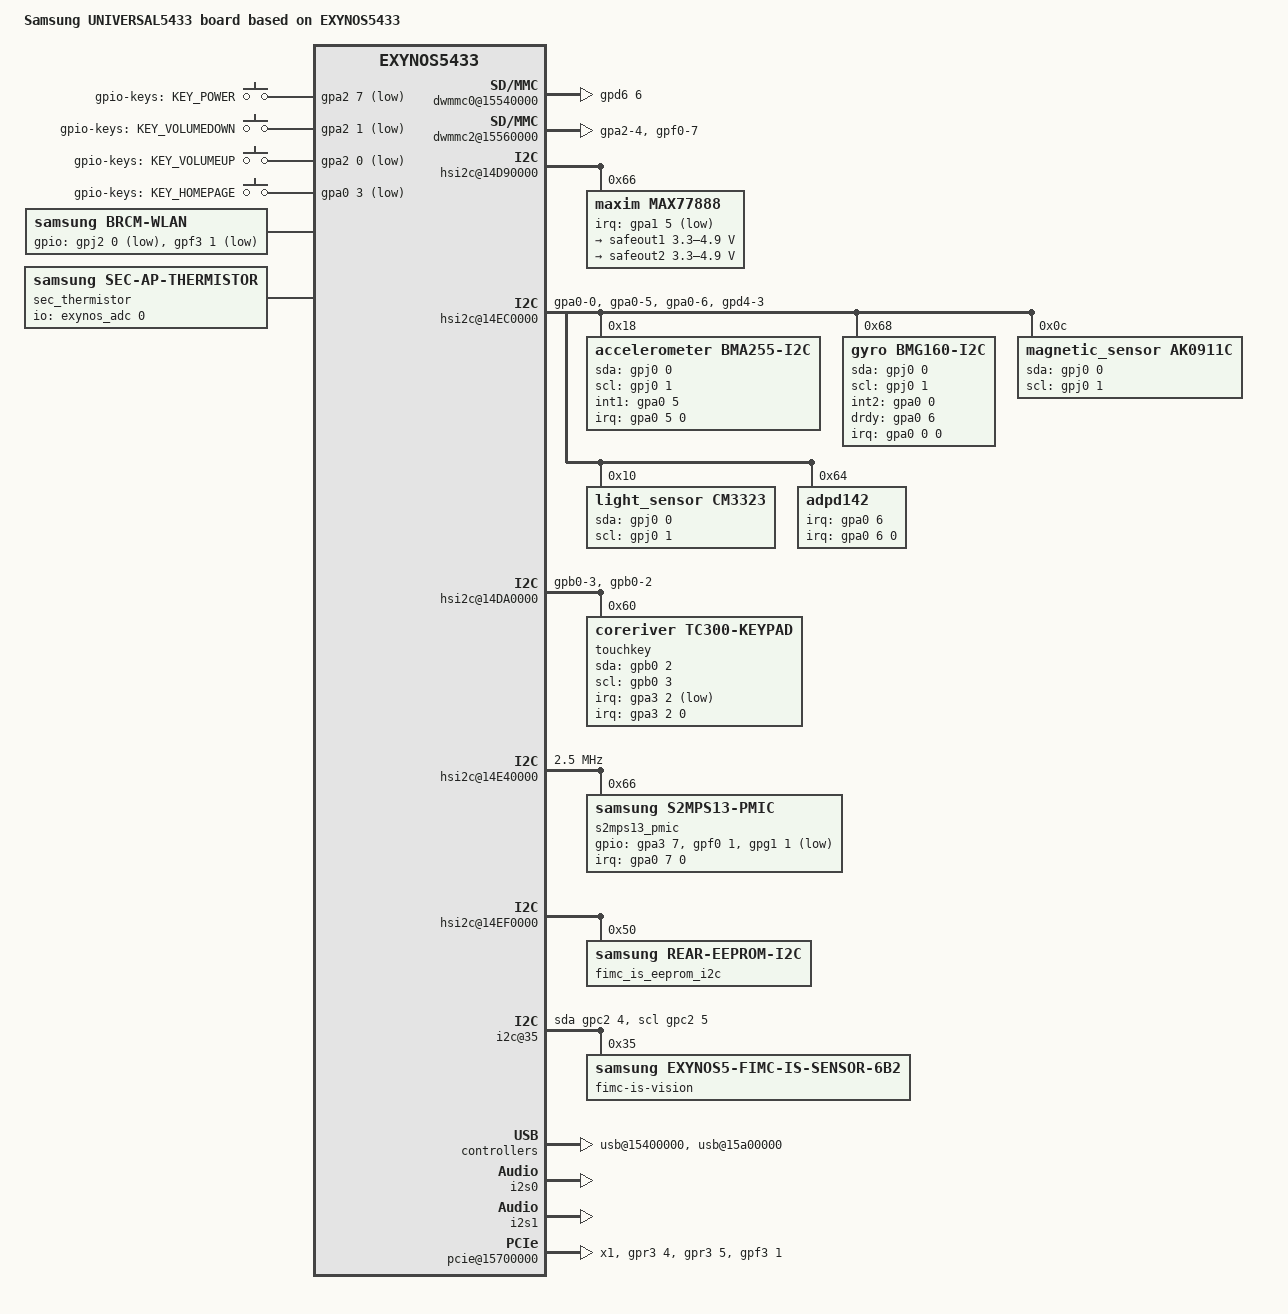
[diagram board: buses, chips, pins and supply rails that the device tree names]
/*
 * SAMSUNG UNIVERSAL5433 board device tree source
 *
 * Copyright (c) 2013 Samsung Electronics Co., Ltd.
 *		http://www.samsung.com
 *
 * This program is free software; you can redistribute it and/or modify
 * it under the terms of the GNU General Public License version 2 as
 * published by the Free Software Foundation.
*/

#include "exynos5433.dtsi"

/ {

	model = "Samsung UNIVERSAL5433 board based on EXYNOS5433";
	compatible = "samsung,UNIVERSAL5433", "samsung,exynos5433";

	aliases {
		spi0 = &spi_0;
		spi1 = &spi_1;
		spi2 = &spi_2;
		spi3 = &spi_3;
		spi4 = &spi_4;
		spi5 = &spi_5;
		spi6 = &spi_6;
	};

	chosen {
		bootargs = "console=ttySAC1,115200 vmalloc=256M";
	};

	fixed-rate-clocks {
		oscclk {
			compatible = "samsung,exynos5433-oscclk";
			clock-frequency = <24000000>;
		};
	};

	dwmmc0@15540000 {
		status = "okay";
		num-slots = <1>;
		broken-cd;
		bypass-smu;
		clock-gate;
		enable-cclk-on-suspend;
		fixed_volt;
		only_once_tune;
		supports-highspeed;
		supports-hs200-1-8v-mode;
		supports-ddr200-1-8v-mode;
		supports-ddr200-enhanced-strobe;
		supports-poweroff-notification;
		device-driver = <1>;
		enable-cache-control;
		enable-no-sleep-cmd;
		use-fine-tuning;
		use-enable-shift;
		ignore-phase = <(1 << 7 | 1 << 6)>;
		extra_tuning;
		bypass-for-allpass;
		desc-size = <4>;
		fifo-depth = <0x80>;
		qos_int_level = <400000>;
		use-enable-shift;
		card-detect-delay = <200>;
		samsung,dw-mshc-ddr200-delay-line = <0x40>;
		samsung,dw-mshc-ciu-div = <3>;
		samsung,dw-mshc-sdr-timing = <3 0 2 0>;
		samsung,dw-mshc-sdr-hs-timing = <3 0 2 1>;
		samsung,dw-mshc-ddr-timing = <3 0 3 2>;
		samsung,dw-mshc-hs200-timing = <3 0 3 0>;
		samsung,dw-mshc-ddr200-timing = <1 0 3 0>;
		clk_pin = "gpr0-0";
		clk_addr = "15690000.pinctrl";
		clk_val = <0x3>;
		clk_str_num = <6>;
		num-ref-clks = <8>;
		ciu_clkin = <25 50 50 100 200 100 200 400>;
		pinctrl-names = "default";
		pinctrl-0 = <&sd0_clk &sd0_cmd &sd0_rdqs &sd0_bus1 &sd0_bus4 &sd0_bus8>;
		gpios = <&gpd6 6 0>;
		slot@0 {
			reg = <0>;
			bus-width = <8>;
		};
	};

	dwmmc1@15550000 {
		status = "disabled";
		num-slots = <1>;
		fixed_volt;
		clock-gate;
		enable-cclk-on-suspend;
		only_once_tune;
		supports-highspeed;
		not-allow-single-dma;
		desc-size = <4>;
		qos_int_level = <133>;
		fifo-depth = <0x40>;
		card-detect-delay = <200>;
		qos_int_level = <200000>;
		samsung,dw-mshc-ciu-div = <3>;
		samsung,dw-mshc-sdr-timing = <3 0 2 1>;
		samsung,dw-mshc-ddr-timing = <3 0 3 2>;
		num-ref-clks = <8>;
		ciu_clkin = <25 50 50 100 200 100 200 400>;
		pinctrl-names = "default";
		pinctrl-0 = <&sd1_clk &sd1_cmd &sd1_bus1 &sd1_bus4>;

		slot@0 {
			reg = <0>;
			bus-width = <4>;
		};
	};

	dwmmc2@15560000 {
		status = "okay";
		num-slots = <1>;
		bypass-smu;
		caps-control;
		supports-cmd23;
		supports-erase;
		supports-highspeed;
		supports-sdr50-mode;
		clock-gate;
		enable-cclk-on-suspend;
		fix-fmp-size-mismatch;
		not-allow-single-dma;
		desc-size = <4>;
		use-fine-tuning;
		bypass-for-allpass;
		cd-type = <0>;
		fifo-depth = <0x40>;
		card-detect-delay = <200>;
		qos_int_level = <400000>;
		ignore-phase = <(1 << 7)>;
		samsung,dw-mshc-ciu-div = <3>;
		samsung,dw-mshc-sdr-timing = <3 0 2 1>;
		samsung,dw-mshc-ddr-timing = <3 0 3 2>;
		clk_pin = "gpr4-0";
		clk_addr = "15690000.pinctrl";
		clk_val = <0x2>;
		clk_str_num = <6>;
		num-ref-clks = <8>;
		ciu_clkin = <25 50 50 100 200 100 200 400>;
		pinctrl-names = "default", "output";
		pinctrl-0 = <&sd2_clk &sd2_cmd &sd2_bus1 &sd2_bus4 &dwmmc2_cd_ext_irq &dwmmc2_vmmc_en_gpio>;
		pinctrl-1 = <&sd2_clk_output &sd2_cmd_output &sd2_bus1 &sd2_bus4 &dwmmc2_cd_ext_irq &dwmmc2_vmmc_en_gpio>;

		gpio-controller;
		#gpio-cells = <2>;
		cd-gpio = <&gpa2 4 0xf>;

		vmmc-en-gpio = <&gpf0 7 0x1>;

		slot@0 {
			reg = <0>;
			bus-width = <4>;
			disable-wp;
		};
	};

	pinctrl@11090000 {
		dwmmc2_vmmc_en_gpio: dwmmc2-vmmc-en-gpio {
			samsung,pins = "gpf0-7";
			samsung,pin-function = <0x1>;
			samsung,pin-pud = <0>;
		};
	};

	serial@11460000 {
		samsung,uart-wake-peer;
		cpu_qos_val = <800000>;
		qos_timeout = <1000000>;
	};

	pinctrl@10580000 {
		ok_sw: ok-sw {
			samsung,pins = "gpa0-3";
			samsung,pin-pud = <3>;
			samsung,pin-drv = <0>;
		};
		dwmmc2_cd_ext_irq: dwmmc2_cd_ext_irq {
			samsung,pins = "gpa2-4";
			samsung,pin-function = <0xf>;
			samsung,pin-pud = <0>;
			samsung,pin-drv = <0>;
		};
		pmic_irq: pmic-irq {
			samsung,pins = "gpa0-7";
			samsung,pin-pud = <0>;
			samsung,pin-drv = <3>;
		};
		/* Warm reset information from AP */
		pm_wrsti: pm-wrsti {
			samsung,pins = "gpf5-4";
			samsung,pin-pud = <0>;
			samsung,pin-con-pdn = <3>;
		};

		gpa3_pull_up: gpa3_pull_up_for_smpl {
			samsung,pins = "gpa3-7";
			samsung,pin-function = <0xf>;
			samsung,pin-pud = <3>;
			samsung,pin-drv = <0>;
		};
	};

	gpio_keys {
		compatible = "gpio-keys";
		#address-cells = <1>;
		#size-cells = <0>;
		pinctrl-names = "default";
		pinctrl-0 = <&ok_sw>;
		button@1 {
			label = "gpio-keys: KEY_POWER";
			interrupts = <7 0 0>;
			interrupt-parent = <&gpa2>;
			linux,code = <116>;
			gpios = <&gpa2 7 0xf>;
			gpio-key,wakeup = <1>;
		};
		button@2 {
			label = "gpio-keys: KEY_VOLUMEDOWN";
			interrupts = <1 0 0>;
			interrupt-parent = <&gpa2>;
			linux,code = <114>;
			gpios = <&gpa2 1 0xf>;
		};
		button@3 {
			label = "gpio-keys: KEY_VOLUMEUP";
			interrupts = <0 0 0>;
			interrupt-parent = <&gpa2>;
			linux,code = <115>;
			gpios = <&gpa2 0 0xf>;
		};
		button@4 {
			label = "gpio-keys: KEY_HOMEPAGE";
			interrupts = <3 0 0>;
			interrupt-parent = <&gpa0>;
			linux,code = <172>;
			gpios = <&gpa0 3 0xf>;
			gpio-key,wakeup = <1>;
		};
	};

	pinctrl@14CC0000 {
		/* touchkey i2c*/
		hs_i2c9_bus: hs-i2c9-bus {
			samsung,pins = "gpb0-3", "gpb0-2";
			samsung,pin-function = <4>;
			samsung,pin-pud = <3>;
			samsung,pin-drv = <0>;
		};
		cfg_i2c: cfg-i2c {
			samsung,pins = "gpb0-3", "gpb0-2";
			samsung,pin-function = <4>;
			samsung,pin-pud = <3>;
			samsung,pin-drv = <0>;
		};
		cfg_gpio: cfg_gpio {
			samsung,pins = "gpb0-3", "gpb0-2";
			samsung,pin-function = <2>;
			samsung,pin-pud = <0>;
			samsung,pin-drv = <0>;
		};
	};

	pinctrl@10580000 {
		/* touchkey interrupt*/
		cfg_irq: cfg-irq {
			samsung,pins = "gpa3-2";
			samsung,pin-function = <0xf>;
			samsung,pin-pud = <0>;
			samsung,pin-drv = <0>;
		};
	};

	pinctrl@14CE0000 {
		hs_i2c5_bus: hs-i2c5-bus {
			samsung,pins = "gpj1-1", "gpj1-0";
			samsung,pin-function = <4>;
			samsung,pin-pud = <0>;
			samsung,pin-drv = <0>;
			samsung,pin-con-pdn = <2>;
			samsung,pin-pud-pdn = <1>;
		};
	};

	pinctrl@10580000 {
		mfd_irq: mfd-irq {
			samsung,pins = "gpa1-5";
			samsung,pin-function = <0>;
			samsung,pin-pud = <0>;
			samsung,pin-drv = <0>;
		};

		fuel_irq: fuel-irq {
			samsung,pins = "gpa1-4";
			samsung,pin-function = <0>;
			samsung,pin-pud = <0>;
			samsung,pin-drv = <0>;
		};

		muic_reset_irq: muic-reset-irq {
			samsung,pins = "gpa3-4";
			samsung,pin-function = <0>;
			samsung,pin-pud = <0>;
			samsung,pin-drv = <0>;
		};

		if_con_sense_irq: if_con_sense-irq {
			samsung,pins = "gpa3-5";
			samsung,pin-function = <0>;
			samsung,pin-pud = <0>;
			samsung,pin-drv = <0>;
		};
	};

	hsi2c@14D90000 {
		max77888@66 {
			compatible = "maxim,max77888";
			reg = <0x66>;
			pinctrl-names = "default";
			pinctrl-0 = <&mfd_irq &if_con_sense_irq &fuel_irq &vibetonz_pwm &muic_reset_irq>;
			max77888,irq-gpio = <&gpa1 5 1>;
			max77888,muic-reset-int = <&gpa3 4 1>;
			max77888,irqf-trigger = <0x00002008>; /* IRQF_ONESHOT | IRQF_TRIGGER_LOW */
			max77888,wakeup;

			regulators {
				safeout1: ESAFEOUT1 {
					regulator-compatible = "safeout1";
					regulator-name = "safeout1_range";
					regulator-min-microvolt = <3300000>;
					regulator-max-microvolt = <4900000>;
					regulator-boot-on;
				};

				safeout2: ESAFEOUT2 {
					regulator-compatible = "safeout2";
					regulator-name = "safeout2_range";
					regulator-min-microvolt = <3300000>;
					regulator-max-microvolt = <4900000>;
				};
			};
		};
	};

	haptic {
		status = "okay";
		haptic,max_timeout = <10000>;
		haptic,duty = <32775>;
		haptic,period = <38240>;
		haptic,reg2 = <0x82>;
		haptic,pwm_id = <0>;
		haptic,regulator_name = "VCC_3.0V_MOTOR_AP";
	};

	rgb {
		rgb-name = "led_w", "led_r", "led_g", "led_b";
	};

	hall {
		status = "okay";
		compatible = "hall";
		pinctrl-names = "default";
		pinctrl-0 = <&hall_irq>;
		hall,gpio_flip_cover = <&gpa0 1 0>;
	};

	usb_notifier {
		compatible = "samsung,usb-notifier";
	};

	muic {
		status = "disabled";
		muic,rustproof_inbattery;
		muic,support-list = "MHL","OTG","Charging Cable","Jig USB On","Jig UART Off",
				    "Jig UART Off + VB","Jig UART On",
				    "TA","USB","CDP","Undefined Charging",
				    "Unofficial ID","Unofficial ID + TA","Unofficial ID + ANY TA",
				    "Unofficial ID + USB","Unofficial ID + CDP",
				    "Deskdock","Deskdock + VB",
				    "USB LANHUB","Universal Multimedia dock";
		muic,afcmode-tx = /bits/ 8 <0x46>;
	};

/*SENSOR*/
	pinctrl@10580000 {
		bma_irq: bma_irq {
			samsung,pins = "gpa0-0", "gpa0-5";
			samsung,pin-function = <0xf>;
			samsung,pin-con-pdn = <0>;
			samsung,pin-pud-pdn = <0>;
		};
		gyro_drdy: gyro_drdy {
			samsung,pins = "gpa0-6";
			samsung,pin-function = <0>;
			samsung,pin-con-pdn = <0>;
			samsung,pin-pud-pdn = <3>;
		};
	};
	pinctrl@14CC0000 {
		magnetic_rst: magnetic_rst {
			samsung,pins = "gpd4-3";
			samsung,pin-function = <1>;
			samsung,pin-con-pdn = <0>;
			samsung,pin-pud-pdn = <3>;
		};
	};
	hsi2c@14EC0000 {
		/*samsung,hs-mode;*/
		/*clock-frequency = <400000>;*/
		samsung,i2c-sda-delay = <100>;
		samsung,i2c-scl-delay = <100>;
		status = "okay";
		pinctrl-names = "default";
		pinctrl-0 = <&hs_i2c4_bus &bma_irq &gyro_drdy &magnetic_rst>;
		accelerometer@18 {
			compatible = "accelerometer,bma255-i2c";
			reg = <0x18>;
			interrupt-parent = <&gpa0>;
			interrupts = <5 0 0>;
			accelerometer,sda-gpio = <&gpj0 0 0>;
			accelerometer,scl-gpio = <&gpj0 1 0>;
			accelerometer,int1_gpio= <&gpa0 5 0>;
			accelerometer,chip_pos = <7>;
		};
		gyro@68 {
			compatible = "gyro,bmg160-i2c";
			reg = <0x68>;
			interrupt-parent = <&gpa0>;
			interrupts = <0 0 0>;
			gyro,sda-gpio = <&gpj0 0 0>;
			gyro,scl-gpio = <&gpj0 1 0>;
			gyro,int2_gpio=<&gpa0 0 0>;
			gyro,drdy-gpio= <&gpa0 6 0>;
			gyro,chip_pos = <7>;
		};
		magnetic_sensor@0c {
			compatible = "magnetic_sensor,ak0911c";
			reg = <0x0c>;
			magnetic_sensor,sda-gpio = <&gpj0 0 0>;
			magnetic_sensor,scl-gpio = <&gpj0 1 0>;
			magnetic_sensor,m_rst_n = <&gpd4 3 0>;
			magnetic_sensor,chip_pos = <4>;
		};
		light_sensor@10 {
			compatible = "light_sensor,cm3323";
			reg = <0x10>;
			light_sensor,sda-gpio = <&gpj0 0 0>;
			light_sensor,scl-gpio = <&gpj0 1 0>;
		};
	};

	hsi2c@14DA0000 {
		status = "okay";
		pinctrl-names = "default","on_i2c","off_i2c";
		pinctrl-0 = <&hs_i2c9_bus>;
		pinctrl-1 = <&cfg_i2c>;
		pinctrl-2 = <&cfg_gpio>;
		touchkey@60 {
			pinctrl-names = "default";
			pinctrl-0 = <&cfg_irq>;
			compatible = "coreriver,tc300-keypad";
			reg = <0x60>;
			interrupts = <2 0 0>;
			interrupt-parent = <&gpa3>;
			coreriver,sda-gpio = <&gpb0 2 0>;
			coreriver,scl-gpio = <&gpb0 3 0>;
			coreriver,irq-gpio = <&gpa3 2 1>;
			coreriver,regulator_ic = "vtouch_1.8v";
			coreriver,regulator_led = "vtouch_3.3v";
			coreriver,fw_name = "coreriver/tc300k_chagall.fw";
			coreriver,fw_version = <0x1B>;
			coreriver,sensing_ch_num = <0x6>;
		};
	};

	hsi2c@14E40000 {
		status = "okay";
		samsung,hs-mode;
		clock-frequency = <2500000>;

		s2mps13_pmic@66 {
			compatible = "samsung,s2mps13-pmic";
			reg = <0x66>;
			interrupts = <7 0 0>;
			interrupt-parent = <&gpa0>;
			pinctrl-names = "default";
			pinctrl-0 = <&pmic_irq &pm_wrsti>;
			gpios = <&gpa3 7 0>, <&gpf0 1 0x0>, <&gpg1 1 0x1>;
			smpl_warn_vth = <0x40>; /* 2.5V */
			smpl_warn_en = <1>; /* 1 : enable , 0 : disable*/
			g3d_en = <0>; /* 1 : enable , 0 : disable */
			dvs_en = <1>; /* 1 : enable , 0 : disable */
			/* RTC: wtsr/smpl */
			wtsr_en = <1>; /* enable */
			smpl_en = <1>; /* enable */
			wtsr_timer_val = <3>;	/* 1000ms */
			smpl_timer_val = <4>;	/* 500ms */
			check_jigon = <1>; /* check jigon */
			/* RTC: If it's first boot, reset rtc to 1/1/2014 12:00:00(Wed) */
			init_time,sec = <0>;
			init_time,min = <0>;
			init_time,hour = <12>;
			init_time,mday = <1>;
			init_time,mon = <0>;
			init_time,year = <114>;
			init_time,wday = <3>;
		};
	};

	pinctrl@10580000 {
		hall_irq: hall-irq {
			samsung,pins = "gpa0-1";
			samsung,pin-function = <0xf>;
			samsung,pin-pud = <0>;
			samsung,pin-drv = <0>;
		};
	};

	ion {
		compatible = "samsung,exynos5430-ion";

		contig-names = "common",
			       "video_ext",
			       "mfc_sh",
			       "g2d_wfd",
			       "video",
			       "sectbl",
			       "mfc_fw",
			       "mfc_nfw",
			       "secdma";

		contig = <0 0x600000 0x0>,
		         <1 0x600000 0x0>,
		         <2 0x100000 0x0>,
		         <10 0x800000 0x0>,
		         <11 0xAC00000 0x0>,
		         <9 0x100000 0x0>,
		         <8 0x200000 0x0>,
		         <12 0x200000 0x0>,
		         <13 0x20000 0x0>;

		contig-isolate_on_boot = <0>, <1>, <2>, <8>,
					  <9>, <10>, <11>, <12>, <13>;

		secure = <11>, <9>, <8>, <1>;

		ion_noncontig_heap {
			id-type = <0 0>;
		};

		exynos_contig_heap {
			id-type = <4 6>;
		};
	};

	pinctrl@10580000 {
		disp_id: disp_id {
			samsung,pins = "gpf2-1";
			samsung,pin-function = <0>;
			samsung,pin-pud = <1>;
		};
	};

	pinctrl@14CC0000 {
		disp_errfg: disp_errfg {
			samsung,pins = "gpb0-4";
			samsung,pin-function = <0xf>;
			samsung,pin-pud = <1>;
		};
	};

	/* disp_driver */
	decon_fb: decon_fb {
		oled-pcd-gpio = <&gpf1 6 0x0>;
		oled-errfg-gpio = <&gpb0 4 0xf>;
		gpio-tcon-rdy = <&gpf1 6 0x0>;
		lcd_info = <&s6tnmr7>;
		decon_board = <&decon_board_list>;

		pinctrl-names = "default", "turnon_tes", "turnoff_tes";
		pinctrl-0 = <&disp_id &disp_errfg>;
		pinctrl-1 = <&disp_id &disp_errfg &disp_teson>;
		pinctrl-2 = <&disp_id &disp_tesoff>;

		decon: decon_ctrl {
			samsung,max_bpp = <32>;
			samsung,default_bpp = <24>;

			fb_driver_data {
				fb_win_variant_0 {
					has_osd_c = <1>;
					has_osd_d = <1>;
					osd_size_off = <0x08>;
					palette_size = <256>;
					VALID_BPP_1248 = <1>;
					VALID_BPP_13 = <1>;
					VALID_BPP_15 = <1>;
					VALID_BPP_16 = <1>;
					VALID_BPP_18 = <1>;
					VALID_BPP_19 = <1>;
					VALID_BPP_24 = <1>;
					VALID_BPP_25 = <1>;
					VALID_BPP_32 = <1>;
				};
				fb_win_variant_1 {
					has_osd_c = <1>;
					has_osd_d = <1>;
					has_osd_alpha = <1>;
					osd_size_off = <0x0c>;
					palette_size = <256>;
					VALID_BPP_1248 = <1>;
					VALID_BPP_13 = <1>;
					VALID_BPP_15 = <1>;
					VALID_BPP_16 = <1>;
					VALID_BPP_18 = <1>;
					VALID_BPP_19 = <1>;
					VALID_BPP_24 = <1>;
					VALID_BPP_25 = <1>;
					VALID_BPP_32 = <1>;
				};
				fb_win_variant_2 {
					has_osd_c = <1>;
					has_osd_d = <1>;
					has_osd_alpha = <1>;
					osd_size_off = <0x0c>;
					palette_size = <256>;
					VALID_BPP_1248 = <1>;
					VALID_BPP_13 = <1>;
					VALID_BPP_15 = <1>;
					VALID_BPP_16 = <1>;
					VALID_BPP_18 = <1>;
					VALID_BPP_19 = <1>;
					VALID_BPP_24 = <1>;
					VALID_BPP_25 = <1>;
					VALID_BPP_32 = <1>;
				};
				fb_win_variant_3 {
					has_osd_c = <1>;
					has_osd_alpha = <1>;
					palette_size = <256>;
					VALID_BPP_1248 = <1>;
					VALID_BPP_13 = <1>;
					VALID_BPP_15 = <1>;
					VALID_BPP_16 = <1>;
					VALID_BPP_18 = <1>;
					VALID_BPP_19 = <1>;
					VALID_BPP_24 = <1>;
					VALID_BPP_25 = <1>;
					VALID_BPP_32 = <1>;
				};
				fb_win_variant_4 {
					has_osd_c = <1>;
					has_osd_alpha = <1>;
					palette_size = <256>;
					VALID_BPP_1248 = <1>;
					VALID_BPP_13 = <1>;
					VALID_BPP_15 = <1>;
					VALID_BPP_16 = <1>;
					VALID_BPP_18 = <1>;
					VALID_BPP_19 = <1>;
					VALID_BPP_24 = <1>;
					VALID_BPP_25 = <1>;
					VALID_BPP_32 = <1>;
				};
			};
		};

		mipi_dsi: mipi_dsi {
			/* Interface definition: 0 - DSIM_COMMAND,
						 1 - DSIM_VIDEO */
			e_interface = <0>;

			/* Pixel format : 0 - DSIM_CMD_3BPP,
					  1 - DSIM_CMD_8BPP,
					  2 - DSIM_CMD_12BPP,
					  3 - DSIM_CMD_16BPP,
					  4 - DSIM_VID_16BPP_565,
					  5 - DSIM_VID_18BPP_666PACKED,
					  6 - DSIM_18BPP_666LOOSELYPACKED,
					  7 - DSIM_24BPP_888 */
			e_pixel_format = <7>;

			/* main frame fifo auto flush at VSYNC pulse */
			auto_flush = <0>;
			eot_disable = <1>;
			auto_vertical_cnt = <0>;
			hse = <0>;
			hfp = <1>;
			hbp = <1>;
			hsa = <0>;

			/* num of data lane : 0 - DSIM_DATA_LANE_1,
					      1 - DSIM_DATA_LANE_2,
					      2 - DSIM_DATA_LANE_3,
					      3 - DSIM_DATA_LANE_4 */
			e_no_data_lane = <3>;
			/* byte clock divider : 0 - DSIM_PLL_OUT_DIV8,
						1 - DSIM_EXT_CLK_DIV8,
						2 - DSIM_EXT_CLK_BYPASS */
			e_byte_clk = <0>;
			/* Burst mode : 0 - DSIM_NON_BURST_SYNC_EVENT,
					2 - DSIM_NON_BURST_SYNC_PULSE,
					1 - DSIM_BURST
					4 - DSIM_NON_VIDEO_MODE */
			e_burst_mode = <1>;

			/* D-PHY PLL stable time spec :min = 200usec ~ max 400usec */
			pll_stable_time = <500>;
			/* escape clk : 7MHz */
			esc_clk = <7000000>;
			/* stop state holding counter after bta change count 0 ~ 0xfff */
			stop_holding_cnt = <0x0fff>;
			/* bta timeout 0 ~ 0xff */
			bta_timeout = <0xff>;
			/* lp rx timeout 0 ~ 0xffff */
			rx_timeout = <0xffff>;
		};
		decon_mic: decon_mic {
			sysreg1 = <0x13B81004>;
			sysreg2 = <0x13B81048>;
		};
		s6tnmr7: s6tnmr7_wqhd {
			mode = <0>;
			resolution = <2560 1600>;
			size = <227 142>;
			timing,refresh = <60>;
			timing,h-porch = <1 1 1>;
			timing,v-porch = <15 1 1>;
			timing,dsi-hs-clk = <896>;
			timing,dsi-escape-clk = <16>;
			timing,hsync-2h-cycle = <1>;
			mic = <1>;
		};

		decon_board_list: decon_board_list {
			enable_display_driver_power {
				type = "gpio,high", "delay,usleep", "regulator,enable", "pinctrl,default", "pinctrl,turnon_tes";
				gpios =<&gpf1 5 0x1>;
				delay = <10000 12000>;
				regulator = "VCC_1.8V_LCD_AP";
			};
			disable_display_driver_power {
				type = "regulator,disable", "delay,usleep", "gpio,low", "pinctrl,turnoff_tes";
				gpios =<&gpf1 5 0x1>;
				delay = <5000 10000>;
				regulator = "VCC_1.8V_LCD_AP";
			};
			reset_display_driver_panel {
				type = "delay,msleep";
				delay = <150>;
			};
		};
	};

        spi_0: spi@14d20000 {
		status = "disabled";
	};

	spi_3: spi@14d50000 {
		status = "disabled";
	};

	spi_5: spi@141a0000 {
		status = "disabled";
	};

	spi_6: spi@141b0000 {
		status = "disabled";
	};

	hsi2c@14EF0000 {
		status = "okay";
		fimc_is_eeprom_i2c@50 {
			compatible = "samsung,rear-eeprom-i2c";
			reg = <0x50>;
		};
	};

	i2c@35{
		compatible = "i2c-gpio";
		gpios = <&gpc2 4 0 /* sda */
		         &gpc2 5 0 /* scl */
		        >;
		i2c-gpio,delay-us = <2>;
		#address-cells = <1>;
		#size-cells = <0>;
		status = "okay";

		fimc-is-vision@35 {
			compatible = "samsung,exynos5-fimc-is-sensor-6b2";
			reg = <0x35>;
		};
	};

	hsi2c@14EC0000 {
		status = "okay";
		adpd142@64 {
			compatible = "adpd142";
			reg = <0x64>;
			interrupt-parent = <&gpa0>;
			interrupts = <6 0 0>;
			adpd142,irq_gpio = <&gpa0 6 0>;
			adpd142,led_en = <&gpg3 1 0>;
			adpd142,vdd_1p8 = "V_HRM_1.8V";
			adpd142,led_3p3 = "V_IRLED_3.3V";
			adpd142,dual-hrm = <1>;
		};
	};

	/* Companion driver */
	fimc_is_companion: fimc_is_companion@14180000 {
		status = "disabled";
	};

	fimc_is_sensor0: fimc_is_sensor@12100000 {
		scenario = <0>;
		clock-names =
			/* SENSOR0 MCLK */
			"sclk_isp_sensor0",		/* 33 */
			"mout_sclk_isp_sensor0",	/* 3066 */
			"dout_sclk_isp_sensor0_a",	/* 4090 */
			"dout_sclk_isp_sensor0_b",	/* 4091 */

			"mout_bus_pll_user",		/* 3010 */
			"oscclk",			/* 5000 */

			/* SPI-ISP */
			"sclk_isp_spi0_top",		/* 30 */
			"sclk_isp_spi1_top",		/* 31 */
			"mout_sclk_isp_spi0",		/* 3063 */
			"mout_sclk_isp_spi1",		/* 3064 */

			"gate_isp_spi1",		/* 2625 */
			"gate_isp_spi0",		/* 2626 */
			"dout_sclk_isp_spi0_a",		/* 4080 */
			"dout_sclk_isp_spi0_b",		/* 4081 */
			"dout_sclk_isp_spi1_a",		/* 4082 */
			"dout_sclk_isp_spi1_b",		/* 4083 */

			"mout_sclk_isp_spi0_user",	/* 3180 */
			"mout_sclk_isp_spi1_user",	/* 3181 */

			/* CMU TOP */
			"dout_aclk_cam1_333",		/* 4047 */

			/* USER_MUX_SEL */
			"aclk_cam1_333",		/* 342 */
			"mout_aclk_cam1_333_user",	/* 3225 */

			/* MPWM */
			"dout_pclk_cam1_166",		/* 4183 */
			"dout_pclk_cam1_83",		/* 4184 */
			"dout_sclk_isp_mpwm";		/* 4185 */
		clocks =
			/* SENSOR0 MCLK */
			<&clock 33>,
			<&clock 3066>,
			<&clock 4090>,
			<&clock 4091>,

			<&clock 3010>,
			<&clock 5000>,

			/* SPI-ISP */
			<&clock 30>,
			<&clock 31>,
			<&clock 3063>,
			<&clock 3064>,

			<&clock 2625>,
			<&clock 2626>,
			<&clock 4080>,
			<&clock 4081>,
			<&clock 4082>,
			<&clock 4083>,

			<&clock 3180>,
			<&clock 3181>,

			/* CMU TOP */
			<&clock 4047>,

			/* USER_MUX_SEL */
			<&clock 342>,
			<&clock 3225>,

			/* MPWM */
			<&clock 4183>,
			<&clock 4184>,
			<&clock 4185>;
		pinctrl-names ="default", "ch0", "af0", "off0";
		pinctrl-0 = <&fimc_is_ch0_mclk_off>;
		pinctrl-1 = <&fimc_is_ch0_i2c &fimc_is_ch0_mclk>;
		pinctrl-2 = <&fimc_is_ch0_i2c &fimc_is_ch0_mclk &fimc_is_ch1_i2c>;
		pinctrl-3 = <&fimc_is_ch0_mclk_off>;

		scenario = <0>;
		mclk_ch = <0>;
		gpios_cam_en = <&gpg2 0 0x1>;
		gpio_reset = <&gpc0 4 0x1>;
		id = <0>;
		csi_ch = <0>;
		flite_ch = <0>;
		i2c_ch = <0x010100>;
		i2c_addr = <0x483434>;
		flash_first_gpio = <1>;
		flash_second_gpio = <2>;
		sensor_name = "imx134";
		sensor_id = <102>;
		is_bns = <1>;
		status = "okay";
	};

	fimc_is_sensor1: fimc_is_sensor@12110000 {
		pinctrl-names ="default", "ch1", "off1";
		pinctrl-0 = <&fimc_is_ch2_mclk_off>;
		pinctrl-1 = <&fimc_is_ch2_i2c &fimc_is_ch2_mclk>;
		pinctrl-2 = <&fimc_is_ch2_mclk_off &fimc_is_ch2_i2c_off>;

		scenario = <0>;
		gpio_reset = <&gpc0 3 0x1>;
		gpio_standby = <&gpc0 0 0x1>;
		gpios_cam_en = <&gpg2 1 0x1>;
		id = <1>;
		mclk_ch = <2>;
		csi_ch = <1>;
		flite_ch = <1>;
		i2c_ch = <0x2>;
		i2c_addr = <0x6A>;
		sensor_name = "6b2";
		sensor_id = <7>;
		is_bns = <0>;
		status = "okay";
	};

	leds_ktd2692 {
		compatible = "ktd2692";
		flash_control = <&gpc0 1 0x1>;
		status = "okay";
		pinctrl-names ="default","host","is";
		pinctrl-0 = <&fimc_is_flash_is>;
		pinctrl-1 = <&fimc_is_flash_host>;
		pinctrl-2 = <&fimc_is_flash_is>;
	};

	fimc_is@14000000 {
		interrupts = <0 165 0>; /* Remove ISP_GIC to use FIMC IS i2c channel in host */
		companion_spi_channel = <0>;
		use_vision = <1>;
		use_sensor_dynamic_voltage_mode = <1>;
		/delete-property/ use_ois;
		/delete-property/ use_ois_hsi2c;
		/delete-property/ pinctrl-names;
		/delete-property/ pinctrl-0;
		fimc_is_dvfs {
			default_int = <400000>; /* L0 */
			default_cam = <777000>; /* L0 */
			default_mif = <825000>; /* L1 */
			default_i2c = <0>;

			front_preview_int = <200000>; /* L3 */
			front_preview_cam = <111000>; /* L9 */
			front_preview_mif = <413000>; /* L3 */
			front_preview_i2c = <0>;

			front_capture_int = <200000>; /* L3 */
			front_capture_cam = <111000>; /* L9 */
			front_capture_mif = <413000>; /* L3 */
			front_capture_i2c = <0>;

			front_camcording_int = <200000>; /* L3 */
			front_camcording_cam = <111000>; /* L9 */
			front_camcording_mif = <413000>; /* L3 */
			front_camcording_i2c = <0>;

			front_vt1_int = <200000>; /* L3 */
			front_vt1_cam = <111000>; /* L9 */
			front_vt1_mif = <413000>; /* L3 */
			front_vt1_i2c = <0>;

			front_vt2_int = <200000>; /* L3 */
			front_vt2_cam = <111000>; /* L9 */
			front_vt2_mif = <413000>; /* L3 */
			front_vt2_i2c = <0>;

			rear_preview_fhd_bns_off_int = <400000>; /* L0 */
			rear_preview_fhd_bns_off_cam = <666000>; /* L1 */
			rear_preview_fhd_bns_off_mif = <667000>; /* L2 */
			rear_preview_fhd_bns_off_i2c = <0>;

			rear_preview_fhd_int = <400000>; /* L0 */
			rear_preview_fhd_cam = <666000>; /* L1 */
			rear_preview_fhd_mif = <667000>; /* L2 */
			rear_preview_fhd_i2c = <0>;

			rear_preview_whd_int = <400000>; /* L0 */
			rear_preview_whd_cam = <777000>; /* L0 */
			rear_preview_whd_mif = <825000>; /* L1 */
			rear_preview_whd_i2c = <0>;

			rear_preview_uhd_int = <400000>; /* L0 */
			rear_preview_uhd_cam = <777000>; /* L0 */
			rear_preview_uhd_mif = <825000>; /* L1 */
			rear_preview_uhd_i2c = <0>;

			rear_capture_int = <400000>; /* L0 */
			rear_capture_cam = <777000>; /* L0 */
			rear_capture_mif = <825000>; /* L1 */
			rear_capture_i2c = <0>;

			rear_camcording_fhd_bns_off_int = <400000>; /* L0 */
			rear_camcording_fhd_bns_off_cam = <666000>; /* L1 */
			rear_camcording_fhd_bns_off_mif = <667000>; /* L2 */
			rear_camcording_fhd_bns_off_i2c = <0>;

			rear_camcording_fhd_int = <400000>; /* L0 */
			rear_camcording_fhd_cam = <666000>; /* L1 */
			rear_camcording_fhd_mif = <667000>; /* L2 */
			rear_camcording_fhd_i2c = <0>;

			rear_camcording_whd_int = <400000>; /* L0 */
			rear_camcording_whd_cam = <777000>; /* L0 */
			rear_camcording_whd_mif = <825000>; /* L1 */
			rear_camcording_whd_i2c = <0>;

			rear_camcording_uhd_int = <400000>; /* L0 */
			rear_camcording_uhd_cam = <777000>; /* L0 */
			rear_camcording_uhd_mif = <825000>; /* L1 */
			rear_camcording_uhd_i2c = <0>;

			dual_preview_int = <400000>; /* L0 */
			dual_preview_cam = <222000>; /* L7 */
			dual_preview_mif = <667000>; /* L2 */
			dual_preview_i2c = <0>;

			dual_capture_int = <400000>; /* L0 */
			dual_capture_cam = <222000>; /* L7 */
			dual_capture_mif = <825000>; /* L1 */
			dual_capture_i2c = <0>;

			dual_camcording_int = <400000>; /* L0 */
			dual_camcording_cam = <222000>; /* L7 */
			dual_camcording_mif = <667000>; /* L2 */
			dual_camcording_i2c = <0>;

			high_speed_fps_int = <400000>; /* L0 */
			high_speed_fps_cam = <777000>; /* L0 */
			high_speed_fps_mif = <825000>; /* L1 */
			high_speed_fps_i2c = <0>;

			dis_enable_int = <400000>; /* L0 */
			dis_enable_cam = <777000>; /* L0 */
			dis_enable_mif = <825000>; /* L1 */
			dis_enable_i2c = <0>;

			max_int = <400000>; /* L0 */
			max_cam = <777000>; /* L0 */
			max_mif = <825000>; /* L0 */
			max_i2c = <0>;
		};
	};

	pinctrl@14CC0000 {
		fimc_is_ch0_i2c: fimc-is-ch0_i2c {
			samsung,pins = "gpc2-1", "gpc2-0";
			samsung,pin-function = <2>;
			samsung,pin-pud = <0>;
			samsung,pin-drv = <3>;
		};
		fimc_is_ch1_i2c: fimc-is-ch1-i2c {
			samsung,pins = "gpc2-3", "gpc2-2";
			samsung,pin-function = <2>;
			samsung,pin-pud = <0>;
			samsung,pin-drv = <3>;
		};
		fimc_is_i2c_0: fimc-is-i2c-0 {
			samsung,pins = "gpc2-1", "gpc2-0";
			samsung,pin-function = <2>;
			samsung,pin-pud = <0>;
			samsung,pin-drv = <3>;
		};
		fimc_is_flash: fimc-is-flash {
			samsung,pins = "gpc0-2", "gpc0-1";
			samsung,pin-function = <2>;
			samsung,pin-pud = <0>;
			samsung,pin-drv = <0>;
		};
		fimc_is_flash_host: fimc-is-flash-host {
			samsung,pins = "gpc0-1";
			samsung,pin-function = <1>;
			samsung,pin-pud = <1>;
			samsung,pin-drv = <0>;
		};
		fimc_is_flash_is: fimc-is-flash-is {
			samsung,pins = "gpc0-1";
			samsung,pin-function = <2>;
			samsung,pin-pud = <1>;
			samsung,pin-drv = <0>;
		};
		fimc_is_comp_int: fimc-is-comp-int {
			samsung,pins = "gpc1-0";
			samsung,pin-function = <3>;
			samsung,pin-pud = <1>;
			samsung,pin-drv = <0>;
		};
		fimc_is_ois: fimc-is-ois {
			samsung,pins = "gpc2-3", "gpc2-2";
			samsung,pin-function = <1>;
			samsung,pin-pud = <0>;
			samsung,pin-drv = <0>;
		};
		uart1_bus: uart1-bus {
			samsung,pins = "gpd1-1", "gpd1-0";
			samsung,pin-function = <2>;
			samsung,pin-pud = <0>;
		};
		uart2_bus: uart2-bus {
			samsung,pins = "gpd1-4", "gpd1-5";
			samsung,pin-function = <2>;
			samsung,pin-pud = <0>;
		};
		fimc_is_ch0_mclk: fimc-is-ch0_mclk {
			samsung,pin-drv = <2>;
		};
		fimc_is_ch0_mclk_off: fimc-is-ch0_mclk_off {
			samsung,pins = "gpd7-0";
			samsung,pin-function = <1>;
			samsung,pin-pud = <1>;
			samsung,pin-drv = <0>;
		};
		fimc_is_vision_i2c: fimc-is-vision-i2c {
			samsung,pins = "gpd1-3", "gpd1-2";
			samsung,pin-function = <3>;
			samsung,pin-pud = <0>;
			samsung,pin-drv = <6>;
		};
		fimc_is_vision_gpio_i2c: fimc-is-vision-gpio-i2c {
			samsung,pins = "gpd1-3", "gpd1-2";
			samsung,pin-function = <0>;
			samsung,pin-pud = <0>;
			samsung,pin-drv = <0>;
		};
		fimc_is_ch2_i2c: fimc-is-ch2-i2c {
			samsung,pins = "gpc2-5", "gpc2-4";
			samsung,pin-function = <2>;
			samsung,pin-pud = <0>;
			samsung,pin-drv = <6>;
		};
		fimc_is_ch2_mclk: fimc-is-ch2-mclk {
			samsung,pin-drv = <2>;
		};
		fimc_is_ch2_mclk_off: fimc-is-ch2_mclk_off {
			samsung,pins = "gpd7-2";
			samsung,pin-function = <1>;
			samsung,pin-pud = <1>;
			samsung,pin-drv = <0>;
		};
		fimc_is_spi_ssn0: fimc-is-spi-ssn0 {
			samsung,pins = "gpc0-6";
			samsung,pin-function = <0>;
			samsung,pin-pud = <0>;
			samsung,pin-drv = <2>;
		};
		fimc_is_ois_hsi2c_on: fimc-is-ois-hsi2c-on {
			samsung,pins = "gpd1-3", "gpd1-2";
			samsung,pin-function = <3>;
			samsung,pin-pud = <0>;
			samsung,pin-drv = <0>;
		};
		fimc_is_hsi2c_off: fimc-is-hsi2c-off {
			samsung,pins = "gpd1-3", "gpd1-2";
			samsung,pin-function = <0>;
			samsung,pin-pud = <0>;
			samsung,pin-drv = <3>;
		};
		fimc_is_ch1_i2c_off: fimc-is-ch1-i2c-off {
			samsung,pins = "gpc2-3", "gpc2-2";
			samsung,pin-function = <0>;
			samsung,pin-pud = <0>;
			samsung,pin-drv = <3>;
		};
		fimc_is_ch2_i2c_off: fimc-is-ch2-i2c-off {
			samsung,pins = "gpc2-5", "gpc2-4";
			samsung,pin-function = <0>;
			samsung,pin-pud = <0>;
			samsung,pin-drv = <6>;
		};
	};

	usb@15400000 {
		status = "okay";
		/* using gpio (1:use, 0:not use) */
		is_gpio = <0>;

		dwc3 {
			maximum-speed = "high-speed";
			dr_mode = "otg";
		};
	};

	usb@15a00000 {
		status = "okay";
		/* using gpio (1:use, 0:not use) */
		is_gpio = <0>;

		dwc3 {
			maximum-speed = "high-speed";
			dr_mode = "otg";
		};
	};

	mipi-lli@10F24000 {
		modem-name = "xmm7260";
		modems {
			ss300 {
				/* disable scrambler */
				scrambler = <0>;
				/* do not control automode by AP */
				automode = <0>;
			};

			xmm7260 {
				/* disable scrambler */
				scrambler = <0>;
				/* do not control automode by AP */
				automode = <0>;
			};
		};

		mphy {
			modem-name = "xmm7260";
			modems {
				ss300 {
					/* initial-gear is HS-G2 */
					init-gear = <2 2 1>;
					/* use shared reference clock for MPHY */
					shd-refclk = <1>;
				};

				xmm7260 {
					/* initial-gear is HS-G1 */
					init-gear = <2 1 1>;
					/* use shared reference clock for MPHY */
					shd-refclk = <1>;
				};
			};
		};
	};

	hdmi@13970000 {
		/* all bit clock supports: 1, not support: 0 */
		audio_master_clk = <0>;
		gpios = <&gpa3 0 0xf>;
	};

	ipa_pdata {
		compatible = "samsung,exynos-ipa";

		control_temp = <81>;
		temp_threshold = <30>;
		enabled = <1>;
		tdp = <3500>;
		boost = <1>;
		ros_power = <500>;
		a7_weight = <1024>;
		a15_weight = <256>;
		gpu_weight = <256>;
		a7_max_power = <1000>;
		a15_max_power = <6552>;
		gpu_max_power = <3110>;
		hotplug_out_threshold = <10>;
		hotplug_in_threshold = <0>;
		enable_ctlr = <1>;
		ctlr.mult = <2>;
		ctlr.k_i = <1>;
		ctlr.k_d = <0>;
		ctlr.feed_forward = <1>;
		ctlr.integral_reset_value = <0>;
		ctlr.integral_cutoff = <0>;
		ctlr.integral_reset_threshold = <10>;
	};

	i2s0: i2s@11440000 {
		status = "okay";
	};

	i2s1: i2s@14D60000 {
		status = "okay";
	};

	i2s_dummy: dummy-i2s {
		compatible = "snd-soc-dummy";
		status = "okay";
	};

	codec_dummy: dummy-codec {
		compatible = "samsung,dummy-codec";
		status = "okay";
	};

	sound {
		compatible = "samsung,pacific-arizona";
		samsung,audio-cpu = <&i2s0>;
		samsung,audio-codec = <&audio_codec
				       &audio_codec /* NULL */
				       &audio_codec /* NULL */
				       &audio_codec
				       &audio_codec
				       &audio_codec
				       &audio_codec
				       &audio_codec
				       &audio_codec
				       &audio_codec>;
		clocks = <&clock 4300>;
		clock-names = "mclk";
		status = "okay";
	};

	hdmi {
		compatible = "samsung,pacific-hdmi";
		samsung,audio-cpu = <&i2s1>;
		samsung,audio-codec = <&codec_dummy>;
		status = "okay";
	};

	secgpio_dvs {
		compatible = "samsung,exynos5433-secgpio-dvs";
		status = "okay";
	};
	wlan {
		compatible = "samsung,brcm-wlan";
		gpios = <&gpj2 0 0x1 /* WLAN_EN */
			 &gpf3 1 0x1 /* WLAN HOST WAKE GPIO_0 */>;
		pinctrl-names = "default";
		pinctrl-0 = <&cfg_wlanen &wlan_host_wake>;
		status = "okay";
	};
	pcie@15700000 {
		compatible = "samsung,exynos5433-pcie", "snps,dw-pcie";
		gpios = <&gpr3 4 0x1 /* CLKREQ_EN */>,
			<&gpr3 5 0x1 /* PERST */>,
			<&gpf3 1 0x1 /* WLAN HOST WAKE GPIO_0 */>;
		reg = <0x156b0000 0x1000
			0x15680000 0x1000
			0x156f0000 0x2000
			0x105c0000 0x4
			0x0c000000 0x1000>;
		interrupts = <0 245 0>;
		clocks = <&clock 2176>,		/* gate_pcie */
			 <&clock 2177>;		/* gate_pcie_phy */
		clock-names = "gate_pcie", "gate_pcie_phy";
		pinctrl-names = "default";
		pinctrl-0 = <&pcie_bus &cfg_wlanen &pcie_clkreq &pcie_wake &wlan_host_wake>;
		#address-cells = <3>;
		#size-cells = <2>;
		device_type = "pci";
		ranges = <0x00000800 0 0x0c000000 0x0c000000 0 0x00001000   /* configuration space */
			  0x81000000 0 0          0x0c001000 0 0x00010000   /* downstream I/O */
			  0x82000000 0 0x0c011000 0x0c011000 0 0x3feefff>; /* non-prefetchable memory */
		num-lanes = <1>;
		msi-base = <200>;
	};

	sec_thermistor {
		compatible = "samsung,sec-ap-thermistor";
		status = "okay";

		adc_array = <215 224 234 243 253 262 271 282 293 304
			343 353 364 377 391 405 418 434 448 463
			479 499 516 533 553 574 591 614 638 660
			688 710 736 760 781 808 834 855 881 910
			938 966 998 1029 1060 1094 1126 1159 1194 1230
			1265 1302 1339 1375 1412 1451 1488 1527 1569 1608
			1650 1693 1735 1776 1818 1863 1907 1950 1996 2040
			2084 2129 2173 2217 2262 2304 2348 2387 2424 2465
			2508 2548 2588 2628 2667 2705 2743 2780 2816 2852
			2886 2921 2953 2984 3018 3059 3091 3122 3150 3179
			3209 3246 3274 3300 3328 3350 3372 3394 3413 3433
			3460>;
		temp_array = <900 890 880 870 860 850 840 830 820 810
			800 790 780 770 760 750 740 730 720 710
			700 690 680 670 660 650 640 630 620 610
			600 590 580 570 560 550 540 530 520 510
			500 490 480 470 460 450 440 430 420 410
			400 390 380 370 360 350 340 330 320 310
			300 290 280 270 260 250 240 230 220 210
			200 190 180 170 160 150 140 130 120 110
			100 90 80 70 60 50 40 30 20 10
			0 (-10) (-20) (-30) (-40) (-50) (-60) (-70) (-80) (-90)
			(-100)(-110)(-120)(-130)(-140)(-150)(-160)(-170)(-180)(-190)
			(-200)>;

		io-channels = <&exynos_adc 0>;
		io-channel-names = "adc-ap-temp";
		io-channel-ranges;
	};

	argos {
		compatible = "samsung,argos";
		#address-cells = <1>;
		 /*  The device number should be assigned for each device, e.g. "boot_device@1" and "boot_device@2".
		   Duplicated number is not allowed. Please refer the below example. */

		 boot_device@1 {
			net_boost,label="IPC";
			net_boost,node="rmnet0 rmnet1 rmnet2 rmnet3 rmnet4 rmnet5 rmnet6 rmnet7";
			net_boost,table_size = <3>;
			net_boost,table= <50 0 0 1000000 0 825000 0 0 0 0
					  100 0 0 1100000 0 825000 100000 0 1 0
					  130 0 0 1300000 0 825000 100000 0 1 0>;
		};
		/* Example
		   boot_device@2 {
			net_boost,label="WIFI";
			net_boost,node="wlan0";
			net_boost,table_size = <2>;
					 <Throughput(Mbps) ARM_min ARM_max KFC_min KFC_max MIF INT Task Irq HMPBoost>
			net_boost,table= <100 1000000 1000000 800000 800000 512000 256000 0 0 0
					  300 1500000 1500000 1000000 1000000 826000 413000 1 0 1>;
		};
		*/
		boot_device@2 {
			net_boost,label="EMMC";
			net_boost,node="";
			net_boost,sysnode="/sys/class/mmc_host/mmc0/trans_count";
			net_boost,table_size = <1>;
			/*		 <Throughput ARM_min ARM_max KFC_min KFC_max MIF INT Task Irq HMPBoost> */
			net_boost,table= <64 0 0 1300000 0 825000 400000 0 0 0>;
		};
		boot_device@3 {
			net_boost,label="WIFI";
			net_boost,node="wlan0";
			net_boost,table_size = <3>;
			/*		 <Throughput ARM_min ARM_max KFC_min KFC_max MIF INT Task Irq HMPBoost> */
			net_boost,table= <60 1000000 0 800000 0 0 200000 0 0 0
					  100 1200000 0 1000000 0 0 200000 0 0 1
					  180 1700000 0 1100000 0 543000 267000 0 0 1>;
		};
		boot_device@4 {
			net_boost,label="P2P";
			net_boost,node="p2p-wlan0-0";
			net_boost,table_size = <3>;
			/*		 <Throughput ARM_min ARM_max KFC_min KFC_max MIF INT Task Irq HMPBoost> */
			net_boost,table= <30 1000000 0 800000 0 0 200000 0 0 0
					  50 1200000 0 1000000 0 0 200000 0 0 0
					  90 1700000 0 1100000 0 543000 267000 0 0 1>;
		};
		boot_device@5 {
			net_boost,label="CLAT";
			net_boost,node="clat clat4";
			net_boost,table_size = <3>;
			/*		 <Throughput ARM_min ARM_max KFC_min KFC_max MIF INT Task Irq HMPBoost> */
			net_boost,table= <120 1400000 0 0 0 825000 0 0 0 0
					  130 1500000 0 0 0 825000 0 0 0 0
					  150 1600000 0 0 0 825000 0 0 0 0>;
		};
	};

	input_booster {
		status = "okay";
		compatible = "input_booster";
		#address-cells = <1>;
		#size-cells = <0>;

		booster_key@1 {
			input_booster,label = "TOUCH";
			input_booster,type = <0>;	/* BOOSTER_DEVICE_TOUCH */

			input_booster,levels = <1 2 3 4 5 9 10>;

			/* Frequency table */
			/* for level	:		1_Head, 2_Tail, 3_Head, 4_Head/Tail, 5_Head, 9_Head, 9_Tail */
			input_booster,cpu_freqs = <1200000 0 0 0 1000000 1900000 1500000>;
			input_booster,hmp_boost = <1 0 0 0 1 1 1>;
			input_booster,kfc_freqs = <1000000 1300000 1300000 1300000 800000 1300000 1300000>;
			input_booster,mif_freqs = <667000 413000 413000 667000 667000 825000 825000>;
			input_booster,int_freqs = <334000 133000 133000 133000 334000 400000 400000>;

			/* Time table */
			input_booster,head_times = <130 130 130 130 120 500 0>;
			input_booster,tail_times = <500 500 500 200 500 1000 0>;
			input_booster,phase_times = <0 0 0 0 20 0 0>;
		};
                booster_key@2 {
			input_booster,label = "KEY";
			input_booster,type = <2>;	/* BOOSTER_DEVICE_KEY */

			input_booster,levels = <1>;

			/* Frequency table */
			/* for level	:	1_Head */
			input_booster,cpu_freqs = <1200000>;
			input_booster,hmp_boost = <1>;
			input_booster,kfc_freqs = <0>;
			input_booster,mif_freqs = <0>;
			input_booster,int_freqs = <0>;

			/* Time table */
			input_booster,head_times = <500>;
			input_booster,tail_times = <500>;
			input_booster,phase_times = <0>;
		};
		/* If you need to add new key type, add it this position */
	};
};
